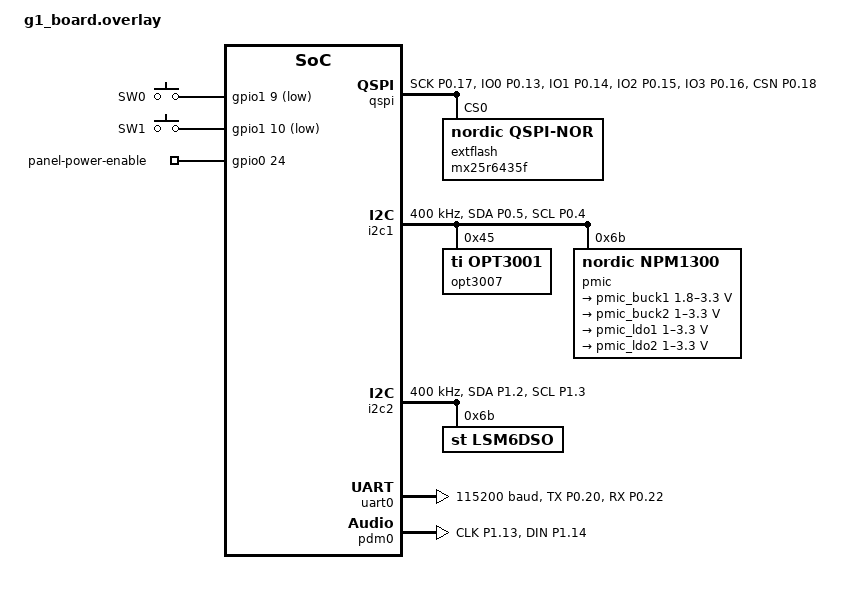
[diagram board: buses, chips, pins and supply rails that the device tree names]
#include <dt-bindings/regulator/npm1300.h>

/ {
	chosen {
		nordic,pm-ext-flash = &extflash;
	};
};

/*
 * G1 app-core board overlay (draft) — nrf5340dk_nrf5340_cpuapp
 *
 * Reconstructed from app_update.bin device objects + pinctrl state tables.
 * Bus/pin mapping and provenance: recon/board/pins_buses.md
 *
 * nRF5340 SERIAL mapping in this firmware:
 *   UARTE0=uart@8000  TWIM1=i2c@9000  SPIM3/SPIM4=projector(runtime pins)
 *   TWIM2=i2c@b000    PDM0=pdm@26000  QSPI=mx25r6435f
 * No PWM node exists in the firmware (brightness is set over projector SPI).
 */

&pinctrl {
	/* ---- QSPI (external NOR flash) ---- */
	qspi_default: qspi_default {
		group1 {
			psels = <NRF_PSEL(QSPI_SCK, 0, 17)>,
				<NRF_PSEL(QSPI_IO0, 0, 13)>,
				<NRF_PSEL(QSPI_IO1, 0, 14)>,
				<NRF_PSEL(QSPI_IO2, 0, 15)>,
				<NRF_PSEL(QSPI_IO3, 0, 16)>,
				<NRF_PSEL(QSPI_CSN, 0, 18)>;
			nordic,drive-mode = <NRF_DRIVE_H0H1>;
		};
	};
	qspi_sleep: qspi_sleep {
		group1 {
			psels = <NRF_PSEL(QSPI_SCK, 0, 17)>,
				<NRF_PSEL(QSPI_IO0, 0, 13)>,
				<NRF_PSEL(QSPI_IO1, 0, 14)>,
				<NRF_PSEL(QSPI_IO2, 0, 15)>,
				<NRF_PSEL(QSPI_IO3, 0, 16)>,
				<NRF_PSEL(QSPI_CSN, 0, 18)>;
			low-power-enable;
		};
	};

	/* ---- I2C1 (i2c@9000): OPT3007 ALS + PMIC ---- */
	i2c1_default: i2c1_default {
		group1 {
			psels = <NRF_PSEL(TWIM_SDA, 0, 5)>,
				<NRF_PSEL(TWIM_SCL, 0, 4)>;
		};
	};
	i2c1_sleep: i2c1_sleep {
		group1 {
			psels = <NRF_PSEL(TWIM_SDA, 0, 5)>,
				<NRF_PSEL(TWIM_SCL, 0, 4)>;
			low-power-enable;
		};
	};

	/* ---- I2C3 (i2c@b000): LSM6DSO IMU ---- */
	i2c2_default: i2c2_default {
		group1 {
			psels = <NRF_PSEL(TWIM_SDA, 1, 2)>,
				<NRF_PSEL(TWIM_SCL, 1, 3)>;
		};
	};
	i2c2_sleep: i2c2_sleep {
		group1 {
			psels = <NRF_PSEL(TWIM_SDA, 1, 2)>,
				<NRF_PSEL(TWIM_SCL, 1, 3)>;
			low-power-enable;
		};
	};

	/* ---- UARTE0 (uart@8000): console/debug ---- */
	uart0_default: uart0_default {
		group1 {
			psels = <NRF_PSEL(UART_TX, 0, 20)>;
		};
		group2 {
			psels = <NRF_PSEL(UART_RX, 0, 22)>;
			bias-pull-up;
		};
		/* RTS/CTS map to P3.31 in-image => unrouted, hw-flow-control off */
	};
	uart0_sleep: uart0_sleep {
		group1 {
			psels = <NRF_PSEL(UART_TX, 0, 20)>,
				<NRF_PSEL(UART_RX, 0, 22)>;
			low-power-enable;
		};
	};

	/* ---- PDM0 (pdm@26000): microphone ---- */
	pdm0_default: pdm0_default {
		group1 {
			psels = <NRF_PSEL(PDM_CLK, 1, 13)>,
				<NRF_PSEL(PDM_DIN, 1, 14)>;
		};
	};

};

/* ================= peripheral nodes ================= */

&qspi {
	status = "okay";
	pinctrl-0 = <&qspi_default>;
	pinctrl-1 = <&qspi_sleep>;
	pinctrl-names = "default", "sleep";

	/*
	 * External serial NOR — the PART IS A MACRONIX MX25U256-family
	 * (256 Mbit / 32 MiB) device, NOT an MX25R6435F.
	 *
	 * The DT node NAME must stay "mx25r6435f@0": that literal string is the
	 * Zephyr device name in the shipped image (app_update.bin device object
	 * 0x87bf0 -> name pointer 0xf5d6b -> "mx25r6435f@0"), and every
	 * device_get_binding()/z_device_is_ready() consumer in the recovered code
	 * references it. Only the DT *label* is corrected here (mx25r64 ->
	 * extflash) so the source no longer claims the wrong part.
	 *
	 * Every property below was checked byte-for-byte against the shipped
	 * `struct qspi_nor_config` at VA 0x8b66c (file offset 0x7f66c); see
	 * recon/emulator/reports/our_boot_bringup.md, Iteration 6 §1.
	 */
	extflash: mx25r6435f@0 {
		compatible = "nordic,qspi-nor";
		reg = <0>;
		writeoc = "pp4io";		/* cfg+0x1d = 03 = NRF_QSPI_WRITEOC_PP4IO  */
		readoc = "read4io";		/* cfg+0x1c = 04 = NRF_QSPI_READOC_READ4IO */
		/*
		 * cfg+0x23 (phy_if.sck_freq) = 0 = NRF_QSPI_FREQ_DIV1 AND the
		 * inlined qspi_nrfx_configure at 0x60c26/0x60c2e writes
		 * HFCLK192MCTRL(0x50005000+0x5b8) = 0 = NRF_CLOCK_HFCLK_DIV_1.
		 * Only the ">= NRF_QSPI_BASE_CLOCK_FREQ (96 MHz)" branch of the
		 * driver's ladder yields that pair (the >=48 MHz branch would
		 * write DIV_2=1; the >=32 MHz branch would give sck_freq=3).
		 */
		sck-frequency = <96000000>;
		jedec-id = [c2 25 39];		/* cfg+0x30 = c2 25 39 (MX25U256)   */
		size = <268435456>;		/* cfg+0x2c = 0x02000000 B = 32 MiB  */
		has-dpd;			/* exit_dpd@0x8397e emits 0xAB       */
		t-enter-dpd = <10000>;		/* enter_dpd: k_busy_wait(10 us)     */
		t-exit-dpd = <35000>;		/* exit_dpd:  k_busy_wait(35 us)     */
	};
};

&i2c1 { /* i2c@9000 */
	compatible = "nordic,nrf-twim";
	status = "okay";
	pinctrl-0 = <&i2c1_default>;
	pinctrl-1 = <&i2c1_sleep>;
	pinctrl-names = "default", "sleep";
	clock-frequency = <I2C_BITRATE_FAST>;

	opt3007: opt3001@45 {
		compatible = "ti,opt3001";
		reg = <0x45>;
	};

	pmic: pmic@6b {
		compatible = "nordic,npm1300";
		reg = <0x6b>;

		pmic_gpio: gpio-controller {
			compatible = "nordic,npm1300-gpio";
			gpio-controller;
			#gpio-cells = <2>;
			ngpios = <5>;
		};

		pmic_regulators: regulators {
			compatible = "nordic,npm1300-regulator";

			/* Values decoded from the four stock config objects at
			 * 0x8b878..0x8b977, not copied from the evaluation shield. */
			pmic_buck1: BUCK1 {
				regulator-min-microvolt = <1800000>;
				regulator-max-microvolt = <3300000>;
			};
			pmic_buck2: BUCK2 {
				regulator-min-microvolt = <1000000>;
				regulator-max-microvolt = <3300000>;
				regulator-init-microvolt = <1200000>;
			};
			pmic_ldo1: LDO1 {
				regulator-min-microvolt = <1000000>;
				regulator-max-microvolt = <3300000>;
				regulator-initial-mode = <NPM1300_LDSW_MODE_LDSW>;
			};
			pmic_ldo2: LDO2 {
				regulator-min-microvolt = <1000000>;
				regulator-max-microvolt = <3300000>;
				regulator-initial-mode = <NPM1300_LDSW_MODE_LDSW>;
			};
		};

		pmic_wdt: watchdog {
			compatible = "nordic,npm1300-wdt";
			/*
			 * Decoded from the shipped `struct wdt_npm1300_config`.
			 * The "watchdog" struct device at 0x87cc8 (name pointer
			 * 0xf66c4 -> "watchdog") has config = 0x8bb50:
			 *   0x8bb50 mfd   = 0x87c80 -> name 0xf6132 "pmic@6b"
			 *   0x8bb54 port  = 0x87c98 -> name 0xf5ebd "gpio-controller"
			 *   0x8bb58 pin   = 2
			 *   0x8bb5a flags = 0x0001 = GPIO_ACTIVE_LOW
			 * Without it `config->reset_gpios.port` is NULL, so
			 * wdt_npm1300_init() skips gpio_pin_configure_dt(...,
			 * NPM1300_GPIO_WDT_RESET_ON) and the six GPIO-bank writes
			 * `060206 061600 060C00 061100 060700 061B00` that the
			 * shipped firmware issues at the head of nPM1300 boot are
			 * absent (measured: our `p1_boot` twim1 @0x6B stream was
			 * 279 transactions against the oracle's 285, and those six
			 * were exactly the missing ones).
			 */
			reset-gpios = <&pmic_gpio 2 GPIO_ACTIVE_LOW>;
		};

		/* Exact config object at 0x8ba14: 4.4/4.1 V termination,
		 * 40 mA charge, 1 A discharge, 500 mA VBUS, 100 kOhm/4250 K
		 * thermistor, default trickle/termination selectors, charging on. */
		pmic_charger: charger {
			compatible = "nordic,npm1300-charger";
			term-microvolt = <4400000>;
			term-warm-microvolt = <4100000>;
			current-microamp = <40000>;
			dischg-limit-microamp = <1000000>;
			vbus-limit-microamp = <500000>;
			thermistor-ohms = <100000>;
			thermistor-beta = <4250>;
			charging-enable;
		};
	};
};

&i2c2 { /* i2c@b000 */
	compatible = "nordic,nrf-twim";
	status = "okay";
	pinctrl-0 = <&i2c2_default>;
	pinctrl-1 = <&i2c2_sleep>;
	pinctrl-names = "default", "sleep";
	clock-frequency = <I2C_BITRATE_FAST>;

	lsm6dso: lsm6dso@6b {
		compatible = "st,lsm6dso";
		reg = <0x6b>;
		/* Exact packed config bytes at original 0x0008b9f0: both sensors
		 * use the driver's low/normal-power mode; ODR/range stay at their
		 * zero-valued power-up defaults. */
		accel-pm = <1>;
		gyro-pm = <1>;
		/* The custom owner emits the original NULL init entry; the stock
		 * CONFIG_LSM6DSO owner remains disabled in Kconfig. */
		status = "okay";
	};
};

&uart0 { /* uart@8000 */
	status = "okay";
	current-speed = <115200>;
	pinctrl-0 = <&uart0_default>;
	pinctrl-1 = <&uart0_sleep>;
	pinctrl-names = "default", "sleep";
	/* hw-flow-control omitted: RTS/CTS not routed */
};

&pdm0 { /* pdm@26000 */
	status = "okay";
	pinctrl-0 = <&pdm0_default>;
	pinctrl-names = "default";
};

/* Projector buses are configured at runtime through nrfx.  The firmware has
 * SPIM3/SPIM4 IRQ veneers but no Zephyr SPI device descriptor. */
&spi4 { status = "disabled"; };
&spi3 { status = "disabled"; };

/* ================= GPIO control lines / buttons ================= */
/ {
	gpio_keys {
		compatible = "gpio-keys";
		sw0: sw0 {
			gpios = <&gpio1 9 (GPIO_ACTIVE_LOW | GPIO_PULL_UP)>;
			label = "SW0";
		};
		sw1: sw1 {
			gpios = <&gpio1 10 (GPIO_ACTIVE_LOW | GPIO_PULL_UP)>;
			label = "SW1";
		};
	};

	panel_ctrl {
		compatible = "gpio-leds";
		panel_pwr: panel_pwr {
			gpios = <&gpio0 24 GPIO_ACTIVE_HIGH>;
			label = "panel-power-enable";
		};
		/* additional projector/panel control outputs observed at boot:
		 * P0.19, P0.21, P0.23, P0.30 (+ P0.25/26/27/28) */
	};
};
